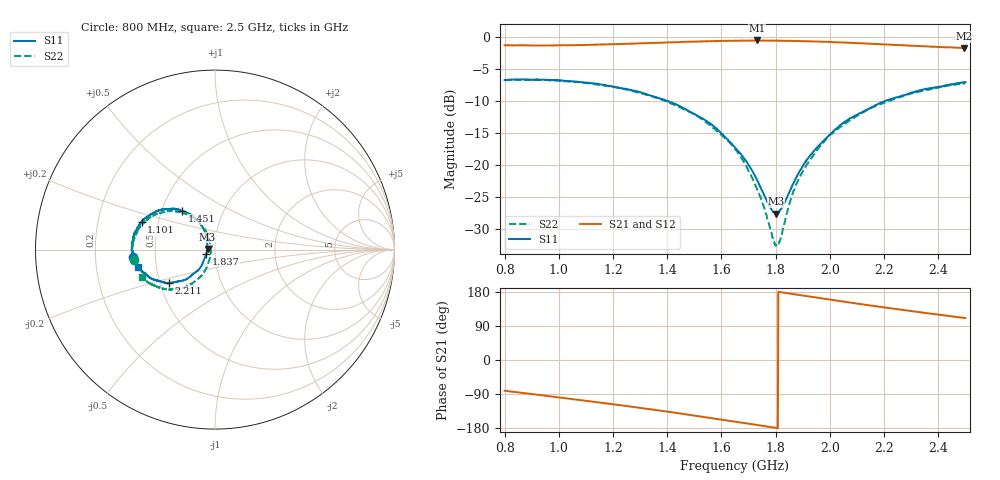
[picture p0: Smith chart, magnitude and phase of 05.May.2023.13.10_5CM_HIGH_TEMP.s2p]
!Keysight Technologies N9950B: A.12.38
!Date: Friday, 05 May 2023 13:21:27
!Timezone: (UTC-06:00) Central Time (US & Canada)
!Model: N9950B
!Serial: MY61131330
!GPS Latitude:
!GPS Longitude:
!GPS TimeStamp: 0001-01-01 00:00:00Z
!GPS Seconds Since Last Read: 0
!CHECKSUM:1967835871
!Correction: S11(ON U)S21(ON U)S12(ON U)S22(ON U)
!S2P File: Measurements:S11,S21,S12,S22:
# Hz S DB R 50
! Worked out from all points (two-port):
!   1001 points, 800 MHz to 2.5 GHz, reference 50 ohm
!   highest |S21| = -0.61 dB at 1.732 GHz (marker M1); lowest = -1.8 dB at 2.497 GHz (marker M2)
!   |S21| within 3 dB of the highest: start of sweep to end of sweep
!   lowest |S11| = -27.6 dB at 1.801 GHz (marker M3), VSWR 1.09, Z = 46 + j0.367 ohm
!   |S11| at or under -10 dB: 1.397 GHz to 2.206 GHz (808.5 MHz wide, 44.9 % of centre)
!   |S22| runs from -32.7 to -6.7 dB; largest |S21 - S12| = 0.0061
!   S11 on the Smith chart (normalised r, x): 800 MHz: 0.37, -0.04; 1.101 GHz: 0.40, +0.15; 1.451 GHz: 0.64, +0.30; 1.837 GHz: 0.91, -0.04; 2.211 GHz: 0.56, -0.23; 2.5 GHz: 0.39, -0.10
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8e8  -6.78 -174.9  -1.35 -81.2  -1.36 -81.1  -6.81 -172.5
1.0839e9  -7.13 161.1  -1.33 -106.3  -1.33 -106.1  -7.16 163.8
1.1009e9  -7.20 159.4  -1.31 -107.7  -1.31 -107.8  -7.23 162.3
1.3678e9  -9.64 136.5  -0.96 -133.1  -0.99 -133.0  -9.65 139.1
1.4511e9  -10.98 130.5  -0.84 -141.5  -0.86 -141.5  -11.10 132.2
1.565e9  -13.77 122.3  -0.72 -153.4  -0.73 -153.3  -14.04 122.5
1.65e9  -17.28 119.1  -0.65 -162.5  -0.67 -162.5  -17.54 117.2
1.6874e9  -19.22 119.8  -0.65 -166.6  -0.65 -166.6  -19.93 115.8
1.7316e9  -22.36 128.9  -0.61 -171.5  -0.64 -171.5  -23.78 120.7
1.7775e9  -26.45 152.8  -0.65 -176.6  -0.65 -176.5  -29.53 142.6
1.8013e9  -27.59 174.5  -0.64 -179.2  -0.66 -179.1  -32.58 177.7
1.8149e9  -27.17 -171.8  -0.64 179.3  -0.66 179.3  -31.95 -154.8
1.837e9  -25.51 -155.1  -0.65 176.9  -0.67 177.0  -28.20 -129.5
1.8574e9  -23.55 -144.9  -0.67 174.8  -0.69 174.8  -25.12 -121.0
1.8795e9  -21.73 -137.3  -0.71 172.3  -0.71 172.3  -22.73 -117.8
1.9339e9  -18.25 -129.7  -0.77 166.4  -0.78 166.4  -18.80 -115.7
2.0291e9  -14.15 -132.3  -0.89 156.2  -0.92 156.3  -14.37 -120.3
2.211e9  -9.94 -144.2  -1.23 137.7  -1.26 137.7  -10.17 -134.8
2.2178e9  -9.85 -144.6  -1.25 137.0  -1.28 137.0  -10.04 -135.5
2.3657e9  -8.07 -156.5  -1.54 122.9  -1.57 122.8  -8.22 -148.1
2.4966e9  -7.13 -166.8  -1.80 111.0  -1.81 111.0  -7.29 -158.9
2.5e9  -7.09 -167.1  -1.78 110.7  -1.81 110.7  -7.27 -159.4
